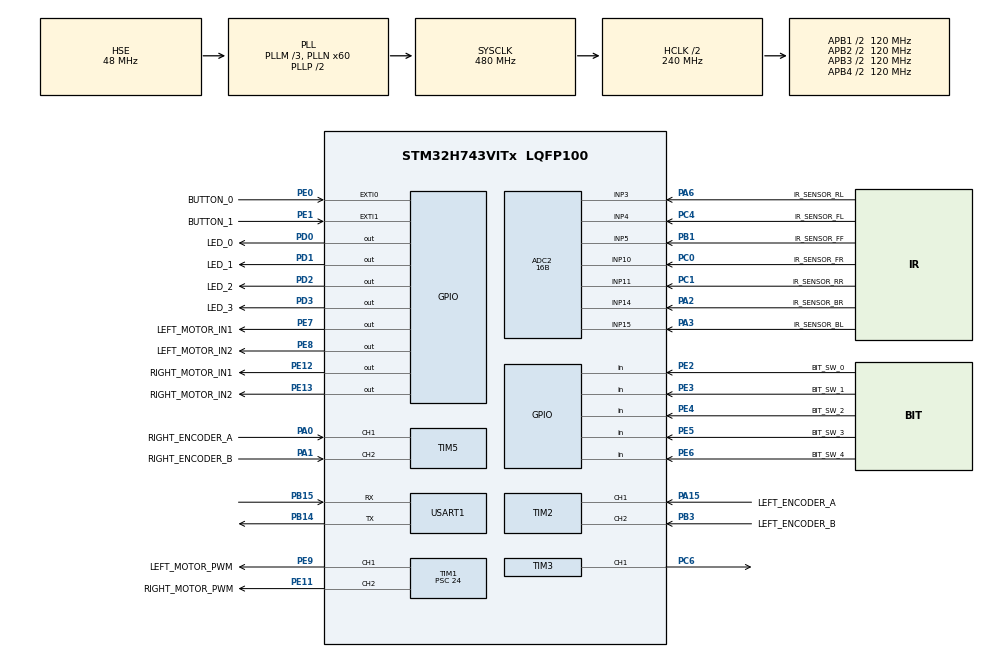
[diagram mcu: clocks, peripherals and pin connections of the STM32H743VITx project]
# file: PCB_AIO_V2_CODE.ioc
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ADC2.Channel-1\#ChannelRegularConversion=ADC_CHANNEL_5
ADC2.Channel-2\#ChannelRegularConversion=ADC_CHANNEL_4
ADC2.Channel-3\#ChannelRegularConversion=ADC_CHANNEL_3
ADC2.Channel-4\#ChannelRegularConversion=ADC_CHANNEL_15
ADC2.Channel-5\#ChannelRegularConversion=ADC_CHANNEL_14
ADC2.Channel-6\#ChannelRegularConversion=ADC_CHANNEL_11
ADC2.Channel-8\#ChannelRegularConversion=ADC_CHANNEL_10
ADC2.ClockPrescaler=ADC_CLOCK_ASYNC_DIV256
ADC2.ContinuousConvMode=ENABLE
ADC2.DiscontinuousConvMode=DISABLE
ADC2.NbrOfConversion=7
ADC2.NbrOfConversionFlag=1
ADC2.OffsetNumber-1\#ChannelRegularConversion=ADC_OFFSET_NONE
ADC2.OffsetNumber-2\#ChannelRegularConversion=ADC_OFFSET_NONE
ADC2.OffsetNumber-3\#ChannelRegularConversion=ADC_OFFSET_NONE
ADC2.OffsetNumber-4\#ChannelRegularConversion=ADC_OFFSET_NONE
ADC2.OffsetNumber-5\#ChannelRegularConversion=ADC_OFFSET_NONE
ADC2.OffsetNumber-6\#ChannelRegularConversion=ADC_OFFSET_NONE
ADC2.OffsetNumber-8\#ChannelRegularConversion=ADC_OFFSET_NONE
ADC2.OffsetSignedSaturation-1\#ChannelRegularConversion=DISABLE
ADC2.OffsetSignedSaturation-2\#ChannelRegularConversion=DISABLE
ADC2.OffsetSignedSaturation-3\#ChannelRegularConversion=DISABLE
ADC2.OffsetSignedSaturation-4\#ChannelRegularConversion=DISABLE
ADC2.OffsetSignedSaturation-5\#ChannelRegularConversion=DISABLE
ADC2.OffsetSignedSaturation-6\#ChannelRegularConversion=DISABLE
ADC2.OffsetSignedSaturation-8\#ChannelRegularConversion=DISABLE
ADC2.OversamplingMode=DISABLE
ADC2.Rank-1\#ChannelRegularConversion=1
ADC2.Rank-2\#ChannelRegularConversion=2
ADC2.Rank-3\#ChannelRegularConversion=3
ADC2.Rank-4\#ChannelRegularConversion=4
ADC2.Rank-5\#ChannelRegularConversion=5
ADC2.Rank-6\#ChannelRegularConversion=6
ADC2.Rank-8\#ChannelRegularConversion=7
ADC2.Resolution=ADC_RESOLUTION_16B
ADC2.SamplingTime-1\#ChannelRegularConversion=ADC_SAMPLETIME_64CYCLES_5
ADC2.SamplingTime-2\#ChannelRegularConversion=ADC_SAMPLETIME_64CYCLES_5
ADC2.SamplingTime-3\#ChannelRegularConversion=ADC_SAMPLETIME_64CYCLES_5
ADC2.SamplingTime-4\#ChannelRegularConversion=ADC_SAMPLETIME_64CYCLES_5
ADC2.SamplingTime-5\#ChannelRegularConversion=ADC_SAMPLETIME_64CYCLES_5
ADC2.SamplingTime-6\#ChannelRegularConversion=ADC_SAMPLETIME_64CYCLES_5
ADC2.SamplingTime-8\#ChannelRegularConversion=ADC_SAMPLETIME_64CYCLES_5
CORTEX_M7.default_mode_Activation=1
Dma.Request0=USART1_RX
Dma.USART1_RX.0.Direction=DMA_PERIPH_TO_MEMORY
Dma.USART1_RX.0.EventEnable=DISABLE
Dma.USART1_RX.0.FIFOMode=DMA_FIFOMODE_DISABLE
Dma.USART1_RX.0.Instance=DMA1_Stream0
Dma.USART1_RX.0.MemDataAlignment=DMA_MDATAALIGN_BYTE
Dma.USART1_RX.0.MemInc=DMA_MINC_ENABLE
Dma.USART1_RX.0.Mode=DMA_NORMAL
Dma.USART1_RX.0.PeriphDataAlignment=DMA_PDATAALIGN_BYTE
Dma.USART1_RX.0.PeriphInc=DMA_PINC_DISABLE
Dma.USART1_RX.0.Polarity=HAL_DMAMUX_REQ_GEN_RISING
Dma.USART1_RX.0.Priority=DMA_PRIORITY_LOW
Dma.USART1_RX.0.RequestNumber=1
Dma.USART1_RX.0.SignalID=NONE
Dma.USART1_RX.0.SyncEnable=DISABLE
Dma.USART1_RX.0.SyncPolarity=HAL_DMAMUX_SYNC_NO_EVENT
Dma.USART1_RX.0.SyncRequestNumber=1
Dma.USART1_RX.0.SyncSignalID=NONE
Mcu.Family=STM32H7
Mcu.Name=STM32H743VITx
Mcu.Package=LQFP100
NVIC.ADC_IRQn=true\:0\:0\:false\:false\:true\:true\:true\:true
NVIC.DMA1_Stream0_IRQn=true\:1\:0\:true\:false\:true\:false\:true\:true
NVIC.PriorityGroup=NVIC_PRIORITYGROUP_4
NVIC.TIM7_IRQn=true\:2\:0\:true\:false\:true\:true\:true\:true
NVIC.USART1_IRQn=true\:1\:0\:true\:false\:true\:true\:true\:true
PA0.GPIO_Label=RIGHT_ENCODER_A
PA0.Signal=S_TIM5_CH1
PA1.GPIO_Label=RIGHT_ENCODER_B
PA1.Signal=S_TIM5_CH2
PA13\ (JTMS/SWDIO).Mode=Serial_Wire
PA13\ (JTMS/SWDIO).Signal=DEBUG_JTMS-SWDIO
PA14\ (JTCK/SWCLK).Mode=Serial_Wire
PA14\ (JTCK/SWCLK).Signal=DEBUG_JTCK-SWCLK
PA15\ (JTDI).GPIO_Label=LEFT_ENCODER_A
PA15\ (JTDI).Signal=S_TIM2_CH1_ETR
PA2.GPIO_Label=IR_SENSOR_BR
PA2.Signal=ADCx_INP14
PA3.GPIO_Label=IR_SENSOR_BL
PA3.Signal=ADCx_INP15
PA6.GPIO_Label=IR_SENSOR_RL
PA6.Signal=ADCx_INP3
PB1.GPIO_Label=IR_SENSOR_FF
PB1.Signal=ADCx_INP5
PB14.Mode=Asynchronous
PB14.Signal=USART1_TX
PB15.Mode=Asynchronous
PB15.Signal=USART1_RX
PB3\ (JTDO/TRACESWO).GPIO_Label=LEFT_ENCODER_B
PB3\ (JTDO/TRACESWO).Signal=S_TIM2_CH2
PC0.GPIO_Label=IR_SENSOR_FR
PC0.Signal=ADCx_INP10
PC1.GPIO_Label=IR_SENSOR_RR
PC1.Signal=ADCx_INP11
PC4.GPIO_Label=IR_SENSOR_FL
PC4.Signal=ADCx_INP4
PC6.Signal=S_TIM3_CH1
PD0.GPIO_Label=LED_0
PD0.Signal=GPIO_Output
PD1.GPIO_Label=LED_1
PD1.Signal=GPIO_Output
PD2.GPIO_Label=LED_2
PD2.Signal=GPIO_Output
PD3.GPIO_Label=LED_3
PD3.Signal=GPIO_Output
PE0.GPIO_Label=BUTTON_0
PE0.Signal=GPXTI0
PE1.GPIO_Label=BUTTON_1
PE1.Signal=GPXTI1
PE11.GPIO_Label=RIGHT_MOTOR_PWM
PE11.Signal=S_TIM1_CH2
PE12.GPIO_Label=RIGHT_MOTOR_IN1
PE12.Signal=GPIO_Output
PE13.GPIO_Label=RIGHT_MOTOR_IN2
PE13.Signal=GPIO_Output
PE2.GPIO_Label=BIT_SW_0
PE2.GPIO_PuPd=GPIO_PULLDOWN
PE2.Signal=GPIO_Input
PE3.GPIO_Label=BIT_SW_1
PE3.GPIO_PuPd=GPIO_PULLDOWN
PE3.Signal=GPIO_Input
PE4.GPIO_Label=BIT_SW_2
PE4.GPIO_PuPd=GPIO_PULLDOWN
PE4.Signal=GPIO_Input
PE5.GPIO_Label=BIT_SW_3
PE5.GPIO_PuPd=GPIO_PULLDOWN
PE5.Signal=GPIO_Input
PE6.GPIO_Label=BIT_SW_4
PE6.GPIO_PuPd=GPIO_PULLDOWN
PE6.Signal=GPIO_Input
PE7.GPIO_Label=LEFT_MOTOR_IN1
PE7.Signal=GPIO_Output
PE8.GPIO_Label=LEFT_MOTOR_IN2
PE8.Signal=GPIO_Output
PE9.GPIO_Label=LEFT_MOTOR_PWM
PE9.Signal=S_TIM1_CH1
PH0-OSC_IN\ (PH0).Mode=HSE-External-Oscillator
PH0-OSC_IN\ (PH0).Signal=RCC_OSC_IN
PH1-OSC_OUT\ (PH1).Mode=HSE-External-Oscillator
PH1-OSC_OUT\ (PH1).Signal=RCC_OSC_OUT
ProjectManager.HeapSize=0x200
ProjectManager.StackSize=0x400
ProjectManager.TargetToolchain=CMake
RCC.ADCFreq_Value=96750000
RCC.APB1Freq_Value=120000000
RCC.APB2Freq_Value=120000000
RCC.APB3Freq_Value=120000000
RCC.APB4Freq_Value=120000000
RCC.CortexFreq_Value=480000000
RCC.D1PPRE=RCC_APB3_DIV2
RCC.D2PPRE1=RCC_APB1_DIV2
RCC.D2PPRE2=RCC_APB2_DIV2
RCC.D3PPRE=RCC_APB4_DIV2
RCC.DIVM1=3
RCC.DIVN1=60
RCC.HCLKFreq_Value=240000000
RCC.HPRE=RCC_HCLK_DIV2
RCC.HSE_VALUE=48000000
RCC.PLLFRACN=0
RCC.PLLSourceVirtual=RCC_PLLSOURCE_HSE
RCC.SYSCLKFreq_VALUE=480000000
RCC.SYSCLKSource=RCC_SYSCLKSOURCE_PLLCLK
RCC.USBFreq_Value=480000000
SH.ADCx_INP10.0=ADC2_INP10,IN10-Single-Ended
SH.ADCx_INP11.0=ADC2_INP11,IN11-Single-Ended
SH.ADCx_INP14.0=ADC2_INP14,IN14-Single-Ended
SH.ADCx_INP15.0=ADC2_INP15,IN15-Single-Ended
SH.ADCx_INP3.0=ADC2_INP3,IN3-Single-Ended
SH.ADCx_INP4.0=ADC2_INP4,IN4-Single-Ended
SH.ADCx_INP5.0=ADC2_INP5,IN5-Single-Ended
SH.S_TIM1_CH1.0=TIM1_CH1,PWM Generation1 CH1
SH.S_TIM1_CH2.0=TIM1_CH2,PWM Generation2 CH2
SH.S_TIM2_CH1_ETR.0=TIM2_CH1,Encoder_Interface
SH.S_TIM2_CH2.0=TIM2_CH2,Encoder_Interface
SH.S_TIM3_CH1.0=TIM3_CH1,PWM Generation1 CH1
SH.S_TIM5_CH1.0=TIM5_CH1,Encoder_Interface
SH.S_TIM5_CH2.0=TIM5_CH2,Encoder_Interface
TIM1.Channel-PWM\ Generation1\ CH1=TIM_CHANNEL_1
TIM1.Channel-PWM\ Generation2\ CH2=TIM_CHANNEL_2
TIM1.Period=999
TIM1.Prescaler=24
TIM2.ClockDivision=TIM_CLOCKDIVISION_DIV1
TIM2.IC1Polarity=TIM_ICPOLARITY_RISING
TIM2.IC2Polarity=TIM_ICPOLARITY_RISING
TIM3.Channel-PWM\ Generation1\ CH1=TIM_CHANNEL_1
TIM3.OCMode_PWM-PWM\ Generation1\ CH1=TIM_OCMODE_PWM2
TIM3.Period=65535
TIM3.Prescaler=4000
TIM5.ClockDivision=TIM_CLOCKDIVISION_DIV1
TIM5.EncoderMode=TIM_ENCODERMODE_TI12
TIM5.IC1Polarity=TIM_ICPOLARITY_RISING
TIM5.IC2Polarity=TIM_ICPOLARITY_FALLING
TIM7.Period=199
TIM7.Prescaler=24000
USART1.OverrunDisableParam=ADVFEATURE_OVERRUN_ENABLE
USART1.VirtualMode-Asynchronous=VM_ASYNC
VP_MEMORYMAP_VS_MEMORYMAP.Mode=CurAppReg
VP_TIM7_VS_ClockSourceINT.Mode=Enable_Timer
board=custom

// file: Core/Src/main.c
/* USER CODE BEGIN Header */
/**
 ******************************************************************************
 * @file           : main.c
 * @brief          : Main program body
 ******************************************************************************
 * @attention
 *
 * Copyright (c) 2024 STMicroelectronics.
 * All rights reserved.
 *
 * This software is licensed under terms that can be found in the LICENSE file
 * in the root directory of this software component.
 * If no LICENSE file comes with this software, it is provided AS-IS.
 *
 ******************************************************************************
 */
/* USER CODE END Header */
#include "main.h"

/* USER CODE BEGIN Includes */
#include "AML_GlobalVariable.h"
#include "AML_IMU.h"
#include "AML_IRSensor.h"

#include <string.h>

#include "AML_LedDebug.h"
#include "AML_Buzzer.h"
#include "AML_Switch.h"
#include "AML_MotorControl.h"
#include "AML_Encoder.h"

#include "solver.h"

/* USER CODE END Includes */

ADC_HandleTypeDef hadc2;

TIM_HandleTypeDef htim1;
TIM_HandleTypeDef htim2;
TIM_HandleTypeDef htim3;
TIM_HandleTypeDef htim5;
TIM_HandleTypeDef htim7;

UART_HandleTypeDef huart1;
DMA_HandleTypeDef hdma_usart1_rx;

/* USER CODE BEGIN PV */
int32_t debug[100];

double CurrentAngle = 0;
uint32_t frequency_test = 1000;

int32_t leftEncoder = 0;
int32_t rightEncoder = 0;

int32_t pwm = 80;
/* USER CODE END PV */

void SystemClock_Config(void);
static void MPU_Config(void);
static void MX_GPIO_Init(void);
static void MX_DMA_Init(void);
static void MX_TIM2_Init(void);
static void MX_ADC2_Init(void);
static void MX_TIM1_Init(void);
static void MX_TIM5_Init(void);
static void MX_USART1_UART_Init(void);
static void MX_TIM3_Init(void);
static void MX_TIM7_Init(void);

/* USER CODE BEGIN 0 */

void RunNewAlgorithm()
{
  // debug_log("Running...");

  setPriorityHeading(NORTH);

  setPosition(0, 0, NORTH);
  initialize();

  // start the search
  searchRun();

  // reached the center, now calculate the shortest path
  markCenterWall();
  calculateShortestPathDistances();

  while (1)
  {
    if (AML_Read_Button(SW_0))
    {
      break;
    }
  }

  // use hand to move the mouse to the start position, and find the shortest path
  // API_ackReset();
  setPosition(0, 0, NORTH);

  // run the shortest path
  fastRunWithVariableVelocity();

  // while (ReadButton == 8)
  // {
  //   // run from the center to the start
  //   searchCenterToStart();

  //   // updateDistances();
  //   calculateShortestPathDistances();

  //   // run the shortest path
  //   fastRunWithVariableVelocity();
  // }
}

// void HAL_UART_RxCpltCallback(UART_HandleTypeDef *huart)
// {
//   AML_IMU_Callback();
// }

/* USER CODE END 0 */

int main(void)
{

  /* MPU Configuration--------------------------------------------------------*/
  MPU_Config();

  /* MCU Configuration--------------------------------------------------------*/

  /* Reset of all peripherals, Initializes the Flash interface and the Systick. */
  HAL_Init();

  /* Configure the system clock */
  SystemClock_Config();

  /* Initialize all configured peripherals */
  MX_GPIO_Init();
  MX_DMA_Init();
  MX_TIM2_Init();
  MX_ADC2_Init();
  MX_TIM1_Init();
  MX_TIM5_Init();
  MX_USART1_UART_Init();
  MX_TIM3_Init();
  MX_TIM7_Init();
  /* USER CODE BEGIN 2 */

  // DO NOT REMOVE THIS LINE (IMPORTANT)
  // DO NOT REMOVE THIS LINE (IMPORTANT)
  // DO NOT REMOVE THIS LINE (IMPORTANT)
  // DO NOT REMOVE THIS LINE (IMPORTANT)
  // DO NOT REMOVE THIS LINE (IMPORTANT)
  AML_Buzzer_Setup(); // DO NOT REMOVE THIS LINE (IMPORTANT)
  // DO NOT REMOVE THIS LINE (IMPORTANT)
  // DO NOT REMOVE THIS LINE (IMPORTANT)
  // DO NOT REMOVE THIS LINE (IMPORTANT)
  // DO NOT REMOVE THIS LINE (IMPORTANT)
  // DO NOT REMOVE THIS LINE (IMPORTANT)

  memset(debug, 0, sizeof(debug));

  AML_MotorControl_Setup();

  AML_IRSensor_Setup();

  AML_MPUSensor_Setup(&huart1);
  // AML_MPUSensor_ResetAngle();

  AML_Encoder_Setup();

  // StartSolver();

  for (int i = 0; i < 2; i++)
  {
    AML_LedDebug_TurnOnLED(YELLOW);
    HAL_Delay(200);
    AML_LedDebug_TurnOffLED(YELLOW);
    AML_LedDebug_TurnOnLED(GREEN);
    HAL_Delay(200);
    AML_LedDebug_TurnOffLED(GREEN);
    AML_LedDebug_TurnOnLED(BLUE);
    HAL_Delay(200);
    AML_LedDebug_TurnOffLED(BLUE);
    AML_LedDebug_TurnOnLED(RED);
    HAL_Delay(200);
    AML_LedDebug_TurnOffLED(RED);
  }

  /* USER CODE END 2 */

  /* Infinite loop */
  while (1)
  {

    /* USER CODE BEGIN 3 */

    if (AML_Read_Button(SW_0))
    {
      // StartSolver();

      RunNewAlgorithm();

      // AML_Buzzer_PlaySong();
      // AML_MotorControl_Move(pwm, pwm);
      // AML_MotorControl_TurnOnWallFollow();
      // AML_MotorControl_Move(100, 100);

      // AML_MotorControl_TurnLeft();
      // HAL_Delay(1000);
      // AML_MotorControl_TurnRight();

      // AML_MotorControl_MoveForwardOneCell();

      // AML_MotorControl_TurnOnWallFollow();
    }
    else if (AML_Read_Button(SW_1))
    {
      // AML_Buzzer_Beep();

      AML_MotorControl_TurnOffWallFollow();
      AML_MotorControl_Stop();
    }

    leftEncoder = AML_Encoder_GetLeftValue();
    rightEncoder = AML_Encoder_GetRightValue();

    CurrentAngle = AML_MPUSensor_GetAngle();
    // AML_ReadAll_BitSwitch();
    // AML_ReadAll_Button();
    HAL_Delay(5);
  }
  /* USER CODE END 3 */
}

void SystemClock_Config(void)
{
  RCC_OscInitTypeDef RCC_OscInitStruct = {0};
  RCC_ClkInitTypeDef RCC_ClkInitStruct = {0};

  /** Supply configuration update enable
  */
  HAL_PWREx_ConfigSupply(PWR_LDO_SUPPLY);

  /** Configure the main internal regulator output voltage
  */
  __HAL_PWR_VOLTAGESCALING_CONFIG(PWR_REGULATOR_VOLTAGE_SCALE1);

  while(!__HAL_PWR_GET_FLAG(PWR_FLAG_VOSRDY)) {}

  __HAL_RCC_SYSCFG_CLK_ENABLE();
  __HAL_PWR_VOLTAGESCALING_CONFIG(PWR_REGULATOR_VOLTAGE_SCALE0);

  while(!__HAL_PWR_GET_FLAG(PWR_FLAG_VOSRDY)) {}

  /** Initializes the RCC Oscillators according to the specified parameters
  * in the RCC_OscInitTypeDef structure.
  */
  RCC_OscInitStruct.OscillatorType = RCC_OSCILLATORTYPE_HSE;
  RCC_OscInitStruct.HSEState = RCC_HSE_ON;
  RCC_OscInitStruct.PLL.PLLState = RCC_PLL_ON;
  RCC_OscInitStruct.PLL.PLLSource = RCC_PLLSOURCE_HSE;
  RCC_OscInitStruct.PLL.PLLM = 3;
  RCC_OscInitStruct.PLL.PLLN = 60;
  RCC_OscInitStruct.PLL.PLLP = 2;
  RCC_OscInitStruct.PLL.PLLQ = 2;
  RCC_OscInitStruct.PLL.PLLR = 2;
  RCC_OscInitStruct.PLL.PLLRGE = RCC_PLL1VCIRANGE_3;
  RCC_OscInitStruct.PLL.PLLVCOSEL = RCC_PLL1VCOWIDE;
  RCC_OscInitStruct.PLL.PLLFRACN = 0;
  if (HAL_RCC_OscConfig(&RCC_OscInitStruct) != HAL_OK)
  {
    Error_Handler();
  }

  /** Initializes the CPU, AHB and APB buses clocks
  */
  RCC_ClkInitStruct.ClockType = RCC_CLOCKTYPE_HCLK|RCC_CLOCKTYPE_SYSCLK
                              |RCC_CLOCKTYPE_PCLK1|RCC_CLOCKTYPE_PCLK2
                              |RCC_CLOCKTYPE_D3PCLK1|RCC_CLOCKTYPE_D1PCLK1;
  RCC_ClkInitStruct.SYSCLKSource = RCC_SYSCLKSOURCE_PLLCLK;
  RCC_ClkInitStruct.SYSCLKDivider = RCC_SYSCLK_DIV1;
  RCC_ClkInitStruct.AHBCLKDivider = RCC_HCLK_DIV2;
  RCC_ClkInitStruct.APB3CLKDivider = RCC_APB3_DIV2;
  RCC_ClkInitStruct.APB1CLKDivider = RCC_APB1_DIV2;
  RCC_ClkInitStruct.APB2CLKDivider = RCC_APB2_DIV2;
  RCC_ClkInitStruct.APB4CLKDivider = RCC_APB4_DIV2;

  if (HAL_RCC_ClockConfig(&RCC_ClkInitStruct, FLASH_LATENCY_4) != HAL_OK)
  {
    Error_Handler();
  }
}

static void MX_ADC2_Init(void)
{

  ADC_ChannelConfTypeDef sConfig = {0};

  /** Common config
  */
  hadc2.Instance = ADC2;
  hadc2.Init.ScanConvMode = ADC_SCAN_ENABLE;
  hadc2.Init.EOCSelection = ADC_EOC_SINGLE_CONV;
  hadc2.Init.LowPowerAutoWait = DISABLE;
  hadc2.Init.ContinuousConvMode = ENABLE;
  hadc2.Init.NbrOfConversion = 7;
  hadc2.Init.DiscontinuousConvMode = DISABLE;
  hadc2.Init.ExternalTrigConv = ADC_SOFTWARE_START;
  hadc2.Init.ExternalTrigConvEdge = ADC_EXTERNALTRIGCONVEDGE_NONE;
  hadc2.Init.ConversionDataManagement = ADC_CONVERSIONDATA_DR;
  hadc2.Init.Overrun = ADC_OVR_DATA_PRESERVED;
  hadc2.Init.LeftBitShift = ADC_LEFTBITSHIFT_NONE;
  hadc2.Init.OversamplingMode = DISABLE;
  hadc2.Init.Oversampling.Ratio = 1;
  if (HAL_ADC_Init(&hadc2) != HAL_OK)
  {
    Error_Handler();
  }
  hadc2.Init.ClockPrescaler = ADC_CLOCK_ASYNC_DIV256;
  hadc2.Init.Resolution = ADC_RESOLUTION_16B;
  if (HAL_ADC_Init(&hadc2) != HAL_OK)
  {
    Error_Handler();
  }

  /** Configure Regular Channel
  */
  sConfig.Channel = ADC_CHANNEL_5;
  sConfig.Rank = ADC_REGULAR_RANK_1;
  sConfig.SamplingTime = ADC_SAMPLETIME_64CYCLES_5;
  sConfig.SingleDiff = ADC_SINGLE_ENDED;
  sConfig.OffsetNumber = ADC_OFFSET_NONE;
  sConfig.Offset = 0;
  sConfig.OffsetSignedSaturation = DISABLE;
  if (HAL_ADC_ConfigChannel(&hadc2, &sConfig) != HAL_OK)
  {
    Error_Handler();
  }

  /** Configure Regular Channel
  */
  sConfig.Channel = ADC_CHANNEL_4;
  sConfig.Rank = ADC_REGULAR_RANK_2;
  if (HAL_ADC_ConfigChannel(&hadc2, &sConfig) != HAL_OK)
  {
    Error_Handler();
  }

  /** Configure Regular Channel
  */
  sConfig.Channel = ADC_CHANNEL_3;
  sConfig.Rank = ADC_REGULAR_RANK_3;
  if (HAL_ADC_ConfigChannel(&hadc2, &sConfig) != HAL_OK)
  {
    Error_Handler();
  }

  /** Configure Regular Channel
  */
  sConfig.Channel = ADC_CHANNEL_15;
  sConfig.Rank = ADC_REGULAR_RANK_4;
  if (HAL_ADC_ConfigChannel(&hadc2, &sConfig) != HAL_OK)
  {
    Error_Handler();
  }

  /** Configure Regular Channel
  */
  sConfig.Channel = ADC_CHANNEL_14;
  sConfig.Rank = ADC_REGULAR_RANK_5;
  if (HAL_ADC_ConfigChannel(&hadc2, &sConfig) != HAL_OK)
  {
    Error_Handler();
  }

  /** Configure Regular Channel
  */
  sConfig.Channel = ADC_CHANNEL_11;
  sConfig.Rank = ADC_REGULAR_RANK_6;
  if (HAL_ADC_ConfigChannel(&hadc2, &sConfig) != HAL_OK)
  {
    Error_Handler();
  }

  /** Configure Regular Channel
  */
  sConfig.Channel = ADC_CHANNEL_10;
  sConfig.Rank = ADC_REGULAR_RANK_7;
  if (HAL_ADC_ConfigChannel(&hadc2, &sConfig) != HAL_OK)
  {
    Error_Handler();
  }

}

static void MX_TIM1_Init(void)
{

  TIM_MasterConfigTypeDef sMasterConfig = {0};
  TIM_OC_InitTypeDef sConfigOC = {0};
  TIM_BreakDeadTimeConfigTypeDef sBreakDeadTimeConfig = {0};

  htim1.Instance = TIM1;
  htim1.Init.Prescaler = 24;
  htim1.Init.CounterMode = TIM_COUNTERMODE_UP;
  htim1.Init.Period = 999;
  htim1.Init.ClockDivision = TIM_CLOCKDIVISION_DIV1;
  htim1.Init.RepetitionCounter = 0;
  htim1.Init.AutoReloadPreload = TIM_AUTORELOAD_PRELOAD_DISABLE;
  if (HAL_TIM_PWM_Init(&htim1) != HAL_OK)
  {
    Error_Handler();
  }
  sMasterConfig.MasterOutputTrigger = TIM_TRGO_RESET;
  sMasterConfig.MasterOutputTrigger2 = TIM_TRGO2_RESET;
  sMasterConfig.MasterSlaveMode = TIM_MASTERSLAVEMODE_DISABLE;
  if (HAL_TIMEx_MasterConfigSynchronization(&htim1, &sMasterConfig) != HAL_OK)
  {
    Error_Handler();
  }
  sConfigOC.OCMode = TIM_OCMODE_PWM1;
  sConfigOC.Pulse = 0;
  sConfigOC.OCPolarity = TIM_OCPOLARITY_HIGH;
  sConfigOC.OCNPolarity = TIM_OCNPOLARITY_HIGH;
  sConfigOC.OCFastMode = TIM_OCFAST_DISABLE;
  sConfigOC.OCIdleState = TIM_OCIDLESTATE_RESET;
  sConfigOC.OCNIdleState = TIM_OCNIDLESTATE_RESET;
  if (HAL_TIM_PWM_ConfigChannel(&htim1, &sConfigOC, TIM_CHANNEL_1) != HAL_OK)
  {
    Error_Handler();
  }
  if (HAL_TIM_PWM_ConfigChannel(&htim1, &sConfigOC, TIM_CHANNEL_2) != HAL_OK)
  {
    Error_Handler();
  }
  sBreakDeadTimeConfig.OffStateRunMode = TIM_OSSR_DISABLE;
  sBreakDeadTimeConfig.OffStateIDLEMode = TIM_OSSI_DISABLE;
  sBreakDeadTimeConfig.LockLevel = TIM_LOCKLEVEL_OFF;
  sBreakDeadTimeConfig.DeadTime = 0;
  sBreakDeadTimeConfig.BreakState = TIM_BREAK_DISABLE;
  sBreakDeadTimeConfig.BreakPolarity = TIM_BREAKPOLARITY_HIGH;
  sBreakDeadTimeConfig.BreakFilter = 0;
  sBreakDeadTimeConfig.Break2State = TIM_BREAK2_DISABLE;
  sBreakDeadTimeConfig.Break2Polarity = TIM_BREAK2POLARITY_HIGH;
  sBreakDeadTimeConfig.Break2Filter = 0;
  sBreakDeadTimeConfig.AutomaticOutput = TIM_AUTOMATICOUTPUT_DISABLE;
  if (HAL_TIMEx_ConfigBreakDeadTime(&htim1, &sBreakDeadTimeConfig) != HAL_OK)
  {
    Error_Handler();
  }
  HAL_TIM_MspPostInit(&htim1);

}

static void MX_TIM2_Init(void)
{

  TIM_Encoder_InitTypeDef sConfig = {0};
  TIM_MasterConfigTypeDef sMasterConfig = {0};

  htim2.Instance = TIM2;
  htim2.Init.Prescaler = 0;
  htim2.Init.CounterMode = TIM_COUNTERMODE_UP;
  htim2.Init.Period = 4294967295;
  htim2.Init.ClockDivision = TIM_CLOCKDIVISION_DIV1;
  htim2.Init.AutoReloadPreload = TIM_AUTORELOAD_PRELOAD_DISABLE;
  sConfig.EncoderMode = TIM_ENCODERMODE_TI1;
  sConfig.IC1Polarity = TIM_ICPOLARITY_RISING;
  sConfig.IC1Selection = TIM_ICSELECTION_DIRECTTI;
  sConfig.IC1Prescaler = TIM_ICPSC_DIV1;
  sConfig.IC1Filter = 0;
  sConfig.IC2Polarity = TIM_ICPOLARITY_RISING;
  sConfig.IC2Selection = TIM_ICSELECTION_DIRECTTI;
  sConfig.IC2Prescaler = TIM_ICPSC_DIV1;
  sConfig.IC2Filter = 0;
  if (HAL_TIM_Encoder_Init(&htim2, &sConfig) != HAL_OK)
  {
    Error_Handler();
  }
  sMasterConfig.MasterOutputTrigger = TIM_TRGO_RESET;
  sMasterConfig.MasterSlaveMode = TIM_MASTERSLAVEMODE_DISABLE;
  if (HAL_TIMEx_MasterConfigSynchronization(&htim2, &sMasterConfig) != HAL_OK)
  {
    Error_Handler();
  }

}

static void MX_TIM3_Init(void)
{

  TIM_MasterConfigTypeDef sMasterConfig = {0};
  TIM_OC_InitTypeDef sConfigOC = {0};

  htim3.Instance = TIM3;
  htim3.Init.Prescaler = 4000;
  htim3.Init.CounterMode = TIM_COUNTERMODE_UP;
  htim3.Init.Period = 65535;
  htim3.Init.ClockDivision = TIM_CLOCKDIVISION_DIV1;
  htim3.Init.AutoReloadPreload = TIM_AUTORELOAD_PRELOAD_DISABLE;
  if (HAL_TIM_PWM_Init(&htim3) != HAL_OK)
  {
    Error_Handler();
  }
  sMasterConfig.MasterOutputTrigger = TIM_TRGO_RESET;
  sMasterConfig.MasterSlaveMode = TIM_MASTERSLAVEMODE_DISABLE;
  if (HAL_TIMEx_MasterConfigSynchronization(&htim3, &sMasterConfig) != HAL_OK)
  {
    Error_Handler();
  }
  sConfigOC.OCMode = TIM_OCMODE_PWM2;
  sConfigOC.Pulse = 0;
  sConfigOC.OCPolarity = TIM_OCPOLARITY_HIGH;
  sConfigOC.OCFastMode = TIM_OCFAST_DISABLE;
  if (HAL_TIM_PWM_ConfigChannel(&htim3, &sConfigOC, TIM_CHANNEL_1) != HAL_OK)
  {
    Error_Handler();
  }
  HAL_TIM_MspPostInit(&htim3);

}

static void MX_TIM5_Init(void)
{

  TIM_Encoder_InitTypeDef sConfig = {0};
  TIM_MasterConfigTypeDef sMasterConfig = {0};

  htim5.Instance = TIM5;
  htim5.Init.Prescaler = 0;
  htim5.Init.CounterMode = TIM_COUNTERMODE_UP;
  htim5.Init.Period = 4294967295;
  htim5.Init.ClockDivision = TIM_CLOCKDIVISION_DIV1;
  htim5.Init.AutoReloadPreload = TIM_AUTORELOAD_PRELOAD_DISABLE;
  sConfig.EncoderMode = TIM_ENCODERMODE_TI12;
  sConfig.IC1Polarity = TIM_ICPOLARITY_RISING;
  sConfig.IC1Selection = TIM_ICSELECTION_DIRECTTI;
  sConfig.IC1Prescaler = TIM_ICPSC_DIV1;
  sConfig.IC1Filter = 0;
  sConfig.IC2Polarity = TIM_ICPOLARITY_FALLING;
  sConfig.IC2Selection = TIM_ICSELECTION_DIRECTTI;
  sConfig.IC2Prescaler = TIM_ICPSC_DIV1;
  sConfig.IC2Filter = 0;
  if (HAL_TIM_Encoder_Init(&htim5, &sConfig) != HAL_OK)
  {
    Error_Handler();
  }
  sMasterConfig.MasterOutputTrigger = TIM_TRGO_RESET;
  sMasterConfig.MasterSlaveMode = TIM_MASTERSLAVEMODE_DISABLE;
  if (HAL_TIMEx_MasterConfigSynchronization(&htim5, &sMasterConfig) != HAL_OK)
  {
    Error_Handler();
  }

}

static void MX_TIM7_Init(void)
{

  TIM_MasterConfigTypeDef sMasterConfig = {0};

  htim7.Instance = TIM7;
  htim7.Init.Prescaler = 24000;
  htim7.Init.CounterMode = TIM_COUNTERMODE_UP;
  htim7.Init.Period = 199;
  htim7.Init.AutoReloadPreload = TIM_AUTORELOAD_PRELOAD_DISABLE;
  if (HAL_TIM_Base_Init(&htim7) != HAL_OK)
  {
    Error_Handler();
  }
  sMasterConfig.MasterOutputTrigger = TIM_TRGO_RESET;
  sMasterConfig.MasterSlaveMode = TIM_MASTERSLAVEMODE_DISABLE;
  if (HAL_TIMEx_MasterConfigSynchronization(&htim7, &sMasterConfig) != HAL_OK)
  {
    Error_Handler();
  }

}

static void MX_USART1_UART_Init(void)
{

  huart1.Instance = USART1;
  huart1.Init.BaudRate = 115200;
  huart1.Init.WordLength = UART_WORDLENGTH_8B;
  huart1.Init.StopBits = UART_STOPBITS_1;
  huart1.Init.Parity = UART_PARITY_NONE;
  huart1.Init.Mode = UART_MODE_TX_RX;
  huart1.Init.HwFlowCtl = UART_HWCONTROL_NONE;
  huart1.Init.OverSampling = UART_OVERSAMPLING_16;
  huart1.Init.OneBitSampling = UART_ONE_BIT_SAMPLE_DISABLE;
  huart1.Init.ClockPrescaler = UART_PRESCALER_DIV1;
  huart1.AdvancedInit.AdvFeatureInit = UART_ADVFEATURE_NO_INIT;
  if (HAL_UART_Init(&huart1) != HAL_OK)
  {
    Error_Handler();
  }
  if (HAL_UARTEx_SetTxFifoThreshold(&huart1, UART_TXFIFO_THRESHOLD_1_8) != HAL_OK)
  {
    Error_Handler();
  }
  if (HAL_UARTEx_SetRxFifoThreshold(&huart1, UART_RXFIFO_THRESHOLD_1_8) != HAL_OK)
  {
    Error_Handler();
  }
  if (HAL_UARTEx_DisableFifoMode(&huart1) != HAL_OK)
  {
    Error_Handler();
  }

}

static void MX_DMA_Init(void)
{

  /* DMA controller clock enable */
  __HAL_RCC_DMA1_CLK_ENABLE();

  /* DMA interrupt init */
  /* DMA1_Stream0_IRQn interrupt configuration */
  HAL_NVIC_SetPriority(DMA1_Stream0_IRQn, 1, 0);
  HAL_NVIC_EnableIRQ(DMA1_Stream0_IRQn);

}

static void MX_GPIO_Init(void)
{
  GPIO_InitTypeDef GPIO_InitStruct = {0};

  /* GPIO Ports Clock Enable */
  __HAL_RCC_GPIOE_CLK_ENABLE();
  __HAL_RCC_GPIOH_CLK_ENABLE();
  __HAL_RCC_GPIOC_CLK_ENABLE();
  __HAL_RCC_GPIOA_CLK_ENABLE();
  __HAL_RCC_GPIOB_CLK_ENABLE();
  __HAL_RCC_GPIOD_CLK_ENABLE();

  /*Configure GPIO pin Output Level */
  HAL_GPIO_WritePin(GPIOE, LEFT_MOTOR_IN1_Pin|LEFT_MOTOR_IN2_Pin|RIGHT_MOTOR_IN1_Pin|RIGHT_MOTOR_IN2_Pin, GPIO_PIN_RESET);

  /*Configure GPIO pin Output Level */
  HAL_GPIO_WritePin(GPIOD, LED_0_Pin|LED_1_Pin|LED_2_Pin|LED_3_Pin, GPIO_PIN_RESET);

  /*Configure GPIO pins : BIT_SW_0_Pin BIT_SW_1_Pin BIT_SW_2_Pin BIT_SW_3_Pin
                           BIT_SW_4_Pin */
  GPIO_InitStruct.Pin = BIT_SW_0_Pin|BIT_SW_1_Pin|BIT_SW_2_Pin|BIT_SW_3_Pin
                          |BIT_SW_4_Pin;
  GPIO_InitStruct.Mode = GPIO_MODE_INPUT;
  GPIO_InitStruct.Pull = GPIO_PULLDOWN;
  HAL_GPIO_Init(GPIOE, &GPIO_InitStruct);

  /*Configure GPIO pins : LEFT_MOTOR_IN1_Pin LEFT_MOTOR_IN2_Pin RIGHT_MOTOR_IN1_Pin RIGHT_MOTOR_IN2_Pin */
  GPIO_InitStruct.Pin = LEFT_MOTOR_IN1_Pin|LEFT_MOTOR_IN2_Pin|RIGHT_MOTOR_IN1_Pin|RIGHT_MOTOR_IN2_Pin;
  GPIO_InitStruct.Mode = GPIO_MODE_OUTPUT_PP;
  GPIO_InitStruct.Pull = GPIO_NOPULL;
  GPIO_InitStruct.Speed = GPIO_SPEED_FREQ_LOW;
  HAL_GPIO_Init(GPIOE, &GPIO_InitStruct);

  /*Configure GPIO pins : LED_0_Pin LED_1_Pin LED_2_Pin LED_3_Pin */
  GPIO_InitStruct.Pin = LED_0_Pin|LED_1_Pin|LED_2_Pin|LED_3_Pin;
  GPIO_InitStruct.Mode = GPIO_MODE_OUTPUT_PP;
  GPIO_InitStruct.Pull = GPIO_NOPULL;
  GPIO_InitStruct.Speed = GPIO_SPEED_FREQ_LOW;
  HAL_GPIO_Init(GPIOD, &GPIO_InitStruct);

  /*Configure GPIO pins : BUTTON_0_Pin BUTTON_1_Pin */
  GPIO_InitStruct.Pin = BUTTON_0_Pin|BUTTON_1_Pin;
  GPIO_InitStruct.Mode = GPIO_MODE_IT_RISING;
  GPIO_InitStruct.Pull = GPIO_NOPULL;
  HAL_GPIO_Init(GPIOE, &GPIO_InitStruct);

}

 /* MPU Configuration */

void MPU_Config(void)
{
  MPU_Region_InitTypeDef MPU_InitStruct = {0};

  /* Disables the MPU */
  HAL_MPU_Disable();

  /** Initializes and configures the Region and the memory to be protected
  */
  MPU_InitStruct.Enable = MPU_REGION_ENABLE;
  MPU_InitStruct.Number = MPU_REGION_NUMBER0;
  MPU_InitStruct.BaseAddress = 0x0;
  MPU_InitStruct.Size = MPU_REGION_SIZE_4GB;
  MPU_InitStruct.SubRegionDisable = 0x87;
  MPU_InitStruct.TypeExtField = MPU_TEX_LEVEL0;
  MPU_InitStruct.AccessPermission = MPU_REGION_NO_ACCESS;
  MPU_InitStruct.DisableExec = MPU_INSTRUCTION_ACCESS_DISABLE;
  MPU_InitStruct.IsShareable = MPU_ACCESS_SHAREABLE;
  MPU_InitStruct.IsCacheable = MPU_ACCESS_NOT_CACHEABLE;
  MPU_InitStruct.IsBufferable = MPU_ACCESS_NOT_BUFFERABLE;

  HAL_MPU_ConfigRegion(&MPU_InitStruct);
  /* Enables the MPU */
  HAL_MPU_Enable(MPU_PRIVILEGED_DEFAULT);

}

void Error_Handler(void)
{
  __disable_irq();
  while (1)
  {
  }
}
